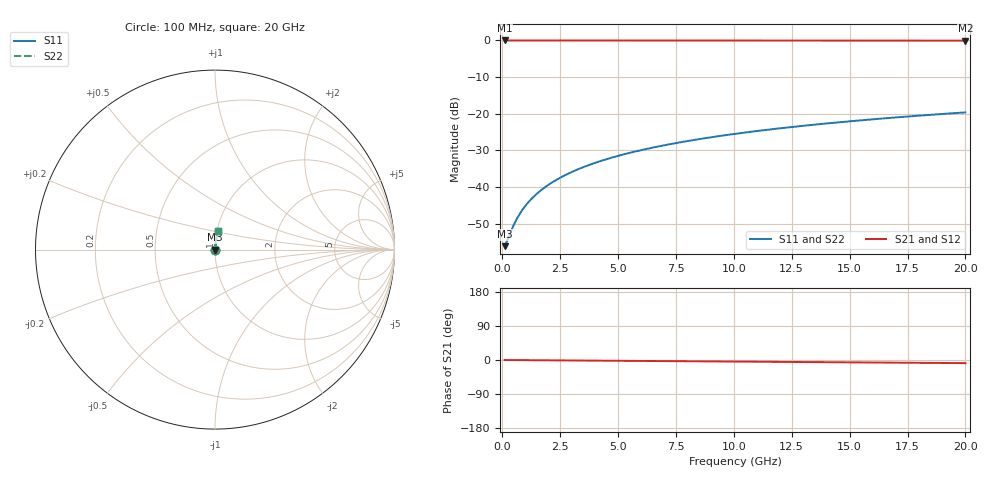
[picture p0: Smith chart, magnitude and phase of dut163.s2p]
! Touchstone file exported from HFSS 2026.1.0
!  File:  C:/ffzhzh/LocalFiles/Ansys_Project_Files/temp_train_TSV_163_1782990913_45328.aedt
!  Generated:  07:17:28 PM Jul  2, 2026
!  Design:  TSV
!  Project:  temp_train_TSV_163_1782990913_45328
! Variables:
!  h_bsmrdl = 2um
!  h_ox = 20um
!  h_rdl = 5um
!  h_sub = 50.72um
!  h_tmrdl = 5um
!  h_tsv = 50.72um
!  h_via = 3um
!  l_bsmrdl = 300um
!  l_sub = 404.02um
!  l_tmrdl = 200um
!  m_sub = 200um
!  pitch = 41.01um
!  r_tsv = 2.01um
!  s_tmrdl = 10um
!  w_bsmrdl = 18um
!  w_sub = 500um
!  w_tmrdl = 12um
!  x_tsv_center1 = 206um
!  x_tsv_center2 = 524um
!  x_tsv_center3 = 736um
!  x_tsv_center4 = 1054um
!  x_tsv_center5 = 1266um
!  x_tsv_center6 = 1584um
# GHz S MA R 50.000000
! Terminal data exported
! Port[1] = TSV1_1_T1
! Port[2] = TSV1_1_T2
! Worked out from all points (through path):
!   200 points, 100 MHz to 20 GHz, reference 50 ohm
!   highest |S21| = -0.01 dB at 100 MHz (marker M1); lowest = -0.1 dB at 20 GHz (marker M2)
!   group delay of S21, straight-line fit = 1.15 ps
!   lowest |S11| = -56.1 dB at 100 MHz (marker M3), VSWR 1.00, Z = 50.1 + j0.0539 ohm
!   |S11| at or under -10 dB: start of sweep to end of sweep
!   |S22| runs from -56.1 to -19.6 dB; largest |S21 - S12| = 4.1e-15
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0.1  0.001564 20.1  0.9985 -0.0  0.9985 -0.0  0.001564 20.1
! Gamma 0 0 0 0
! Port Impedance 50 0 50 0
0.2  0.001823 36.2  0.9985 -0.1  0.9985 -0.1  0.001823 36.2
0.4  0.002611 55.4  0.9985 -0.2  0.9985 -0.2  0.002611 55.4
0.5  0.00307 60.9  0.9985 -0.2  0.9985 -0.2  0.00307 60.9
0.7  0.004042 68.0  0.9985 -0.3  0.9985 -0.3  0.004042 68.0
0.8  0.004543 70.4  0.9985 -0.3  0.9985 -0.3  0.004543 70.4
1  0.005562 73.9  0.9985 -0.4  0.9985 -0.4  0.005562 73.9
1.3  0.007113 77.1  0.9985 -0.5  0.9985 -0.5  0.007113 77.1
1.7  0.009202 79.7  0.9984 -0.7  0.9984 -0.7  0.009202 79.7
2.2  0.01183 81.5  0.9984 -0.9  0.9984 -0.9  0.01183 81.5
2.8  0.015 82.8  0.9983 -1.2  0.9983 -1.2  0.015 82.8
3.5  0.0187 83.6  0.9982 -1.5  0.9982 -1.5  0.0187 83.6
4.2  0.0224 84.1  0.9981 -1.8  0.9981 -1.8  0.0224 84.1
5  0.02663 84.3  0.998 -2.1  0.998 -2.1  0.02663 84.3
5.9  0.03138 84.4  0.9978 -2.5  0.9978 -2.5  0.03138 84.4
6.8  0.03613 84.3  0.9976 -2.8  0.9976 -2.8  0.03613 84.3
8.3  0.04401 84.0  0.9971 -3.5  0.9971 -3.5  0.04401 84.0
10.1  0.05344 83.6  0.9965 -4.2  0.9965 -4.2  0.05344 83.6
11.7  0.06177 83.1  0.9959 -4.9  0.9959 -4.9  0.06177 83.1
13.4  0.07059 82.5  0.9951 -5.6  0.9951 -5.6  0.07059 82.5
16.7  0.08755 81.3  0.9935 -6.9  0.9935 -6.9  0.08755 81.3
20  0.1043 80.1  0.9915 -8.3  0.9915 -8.3  0.1043 80.1
